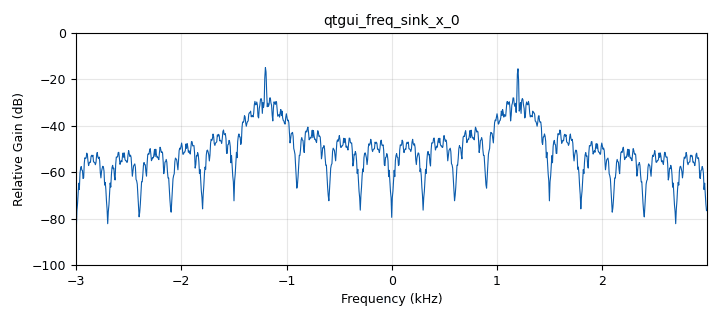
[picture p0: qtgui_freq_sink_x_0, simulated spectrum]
options:
  parameters:
    author: Marcelo Doalo
    comment: Agregar filtros RRC
    generate_options: qt_gui
    id: Demo_BFSK
    output_language: python
    title: BFSK Demo
  states: {}

blocks:
- name: Sensibilidad
  id: variable
  parameters:
    value: '1200'
  states: {}
- name: baud_rate
  id: variable
  parameters:
    value: '300'
  states: {}
- name: samp_rate
  id: variable
  parameters:
    value: '6000'
  states: {}
- name: analog_frequency_modulator_fc_0
  id: analog_frequency_modulator_fc
  parameters:
    sensitivity: 2*math.pi*Sensibilidad/samp_rate
  states: {}
- name: analog_random_source_x_0
  id: analog_random_source_x
  parameters:
    max: '2'
    min: '0'
    num_samps: '1000'
    repeat: 'True'
    type: byte
  states: {}
- name: blocks_add_const_vxx_0
  id: blocks_add_const_vxx
  parameters:
    const: '-1'
    type: float
  states: {}
- name: blocks_char_to_float_0
  id: blocks_char_to_float
  parameters:
    scale: '.5'
  states: {}
- name: blocks_repeat_0
  id: blocks_repeat
  parameters:
    comment: Sampes per symbol
    interp: samp_rate//baud_rate
    type: float
  states: {}
- name: blocks_throttle_0
  id: blocks_throttle
  parameters:
    comment: x10 for reproduction accelerated
    samples_per_second: samp_rate*10
    type: complex
  states: {}
- name: import_0
  id: import
  parameters:
    imports: import math
  states: {}
- name: qtgui_freq_sink_x_0
  id: qtgui_freq_sink_x
  parameters:
    average: '0.2'
    bw: samp_rate
    ctrlpanel: 'True'
    fc: '0'
    fftsize: '1024'
    type: complex
    update_time: '.1'
    ymax: '0'
    ymin: '-100'
  states: {}
- name: virtual_sink_0
  id: virtual_sink
  parameters:
    stream_id: BFSK
  states: {}
- name: virtual_source_0
  id: virtual_source
  parameters:
    stream_id: BFSK
  states: {}

connections:
- [analog_frequency_modulator_fc_0, '0', virtual_sink_0, '0']
- [analog_random_source_x_0, '0', blocks_char_to_float_0, '0']
- [blocks_add_const_vxx_0, '0', blocks_repeat_0, '0']
- [blocks_char_to_float_0, '0', blocks_add_const_vxx_0, '0']
- [blocks_repeat_0, '0', analog_frequency_modulator_fc_0, '0']
- [blocks_throttle_0, '0', qtgui_freq_sink_x_0, '0']
- [virtual_source_0, '0', blocks_throttle_0, '0']

metadata:
  file_format: 1
  grc_version: 3.10.9.2
